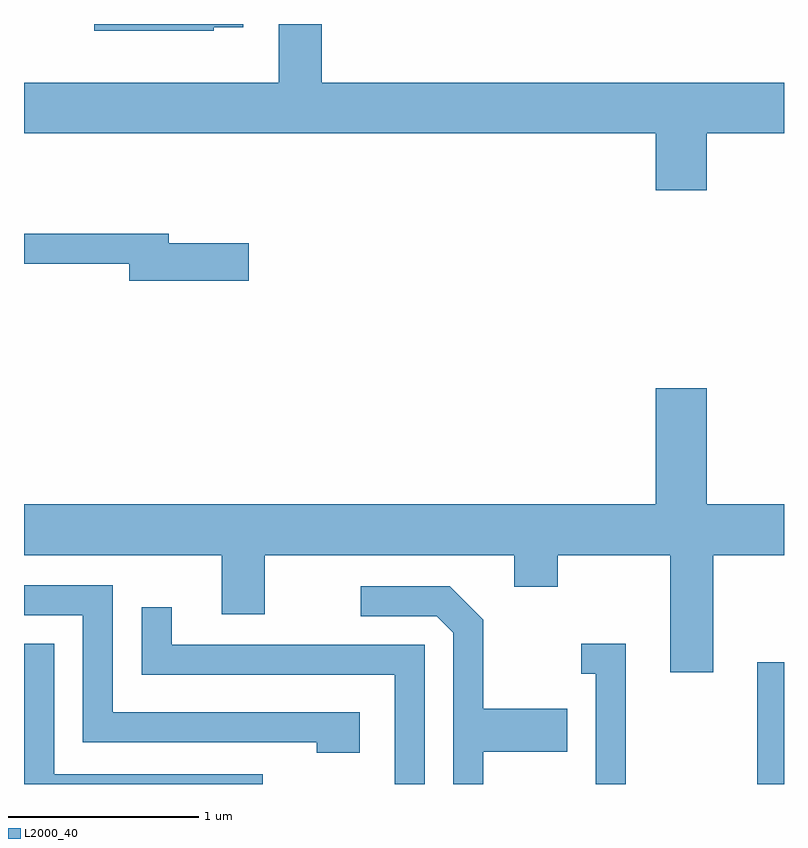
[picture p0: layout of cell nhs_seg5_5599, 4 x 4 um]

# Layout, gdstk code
import gdstk
lib = gdstk.Library(unit=1e-6, precision=1e-09)
def R(c, l, rs):  # rectangles x0, y0, x1, y1
    for r in rs: c.add(gdstk.rectangle(r[:2], r[2:], *l))
def P(c, l, *ps):  # polygons
    for p in ps: c.add(gdstk.Polygon(p, *l))
L2000_40 = (2000, 40)

nhs_seg5_5599 = lib.new_cell('nhs_seg5_5599')
R(nhs_seg5_5599, L2000_40, [(355.471,1420.072,355.611,1420.714)])
P(nhs_seg5_5599, L2000_40, [(355.204,1423.496),(355.611,1423.496),(355.611,1423.764),(353.179,1423.764),(353.179,1424.072),(352.951,1424.072),(352.951,1423.764),(351.611,1423.764),(351.611,1423.496),(354.936,1423.496),(354.936,1423.196),(355.204,1423.196)],
  [(352.609,1424.056),(352.764,1424.056),(352.764,1424.072),(351.981,1424.072),(351.981,1424.036),(352.609,1424.036)],
  [(352.794,1422.919),(352.374,1422.919),(352.374,1422.969),(351.611,1422.969),(351.611,1422.811),(352.166,1422.811),(352.166,1422.721),(352.794,1422.721)],
  [(355.239,1421.276),(355.611,1421.276),(355.611,1421.544),(355.204,1421.544),(355.204,1422.154),(354.936,1422.154),(354.936,1421.544),(351.611,1421.544),(351.611,1421.276),(352.651,1421.276),(352.651,1420.966),(352.879,1420.966),(352.879,1421.276),(354.191,1421.276),(354.191,1421.111),(354.419,1421.111),(354.419,1421.276),(355.011,1421.276),(355.011,1420.661),(355.239,1420.661)],
  [(353.379,1420.449),(352.079,1420.449),(352.079,1421.119),(351.611,1421.119),(351.611,1420.961),(351.921,1420.961),(351.921,1420.291),(353.151,1420.291),(353.151,1420.236),(353.379,1420.236)],
  [(354.029,1420.241),(354.469,1420.241),(354.469,1420.469),(354.029,1420.469),(354.029,1420.937),(353.852,1421.114),(353.383,1421.114),(353.383,1420.956),(353.784,1420.956),(353.871,1420.869),(353.871,1420.072),(354.029,1420.072)],
  [(353.719,1420.804),(352.389,1420.804),(352.389,1421.003),(352.231,1421.003),(352.231,1420.646),(353.561,1420.646),(353.561,1420.072),(353.719,1420.072)],
  [(352.868,1420.124),(351.769,1420.124),(351.769,1420.809),(351.611,1420.809),(351.611,1420.072),(352.868,1420.072)],
  [(354.779,1420.809),(354.543,1420.809),(354.543,1420.651),(354.621,1420.651),(354.621,1420.072),(354.779,1420.072)])

lib.write_gds('nhs_seg5_5599.gds')
